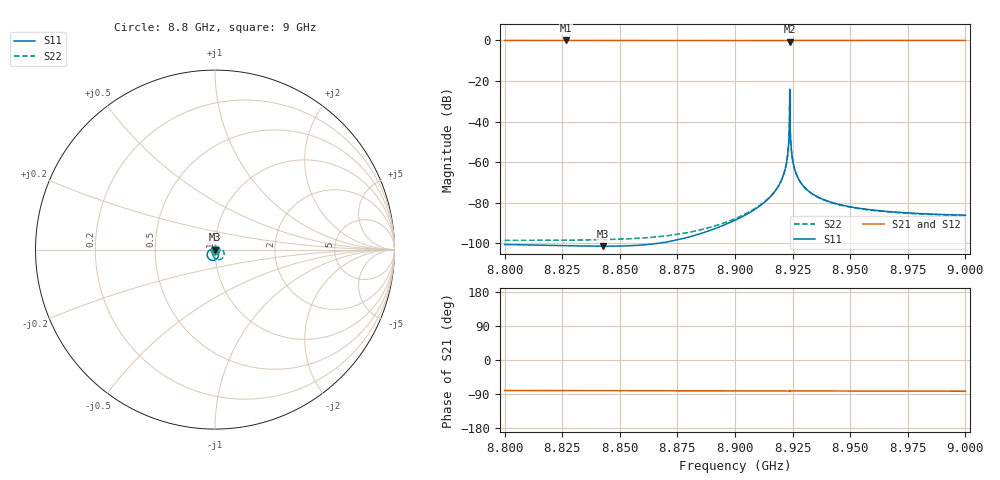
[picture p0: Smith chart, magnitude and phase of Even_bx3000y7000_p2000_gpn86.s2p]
! Sonnet Data File
! From: emgraph Version : 16.52
! From Project: Resonator2_cp_cp
! Data is De-embedded
! Data File Written: 10/06/2017 09:20:31
!< HDATE 10/05/2017 21:11:40
!< MDATE 10/05/2017 21:11:40
!< PARAMS
!< gap = 86.0
!< Length = 400.0
!< Pwid1 = 2000.0
!< Pwid2 = 2000.0
!< END PARAMS
# GHZ S MA R 51.80000
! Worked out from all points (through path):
!   1597 points, 8.8 GHz to 9 GHz, reference 51.8 ohm
!   highest |S21| = 0.00 dB at 8.8266 GHz (marker M1); lowest = -0.6 dB at 8.9238 GHz (marker M2)
!   group delay of S21, straight-line fit = 25.2 ps
!   lowest |S11| = -101.4 dB at 8.8428 GHz (marker M3), VSWR 1.00, Z = 51.8 - j0.000747 ohm
!   |S11| at or under -10 dB: start of sweep to end of sweep
!   |S22| runs from -98.5 to -24.0 dB; largest |S21 - S12| = 0
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8.8  9.363e-06 -148.4  1 -80.5  1 -80.5  1.185e-05 146.6
!< P1 F=8.8 Eeff=(6.44679989 -2.9721e-5) Z0=(51.7992624 1.19519e-4) R=0.0 C=0.0
!< P2 F=8.8 Eeff=(6.44679989 -2.9721e-5) Z0=(51.7992624 1.19519e-4) R=0.0 C=0.0
8.8266  8.742e-06 -135.9  1 -80.7  1 -80.7  1.196e-05 136.1
8.8334  8.611e-06 -130.9  1 -80.8  1 -80.8  1.206e-05 132.4
8.8428  8.513e-06 -122.1  1 -80.9  1 -80.9  1.232e-05 126.2
8.8668  1.004e-05 -87.0  1 -81.1  1 -81.1  1.458e-05 102.9
8.9  3.71e-05 -38.2  1 -81.4  1 -81.4  4.052e-05 59.7
8.9126  0.0001007 -28.3  1 -81.5  1 -81.5  0.0001034 47.0
8.919775  0.000322 -24.3  1 -81.6  1 -81.6  0.0003243 41.1
8.921785  0.0006733 -23.6  1 -81.7  1 -81.7  0.0006754 39.4
8.922994  0.00177 -24.0  0.9999 -81.7  0.9999 -81.7  0.001772 37.6
8.923549  0.00639 -27.9  0.9994 -82.0  0.9994 -82.0  0.00639 33.0
8.923676  0.01533 -36.2  0.9964 -82.5  0.9964 -82.5  0.01532 24.6
8.923763  0.06281 -112.0  0.9372 -81.6  0.9372 -81.6  0.06278 -51.3
8.923886  0.01075 167.7  0.9983 -81.0  0.9983 -81.0  0.01074 -131.7
8.92413  0.003756 161.6  0.9998 -81.4  0.9998 -81.4  0.003753 -138.2
8.924615  0.001641 159.9  1 -81.5  1 -81.5  0.001638 -140.4
8.925411  0.0008601 159.6  1 -81.6  1 -81.6  0.0008575 -141.6
8.9286  0.0003097 160.4  1 -81.7  1 -81.7  0.0003074 -144.0
8.9334  0.0001684 162.1  1 -81.7  1 -81.7  0.0001663 -146.7
8.9428  9.872e-05 165.1  1 -81.8  1 -81.8  9.699e-05 -151.0
8.9668  6.053e-05 170.1  1 -82.0  1 -82.0  5.929e-05 -158.4
9  4.934e-05 174.1  1 -82.3  1 -82.3  4.847e-05 -164.0
